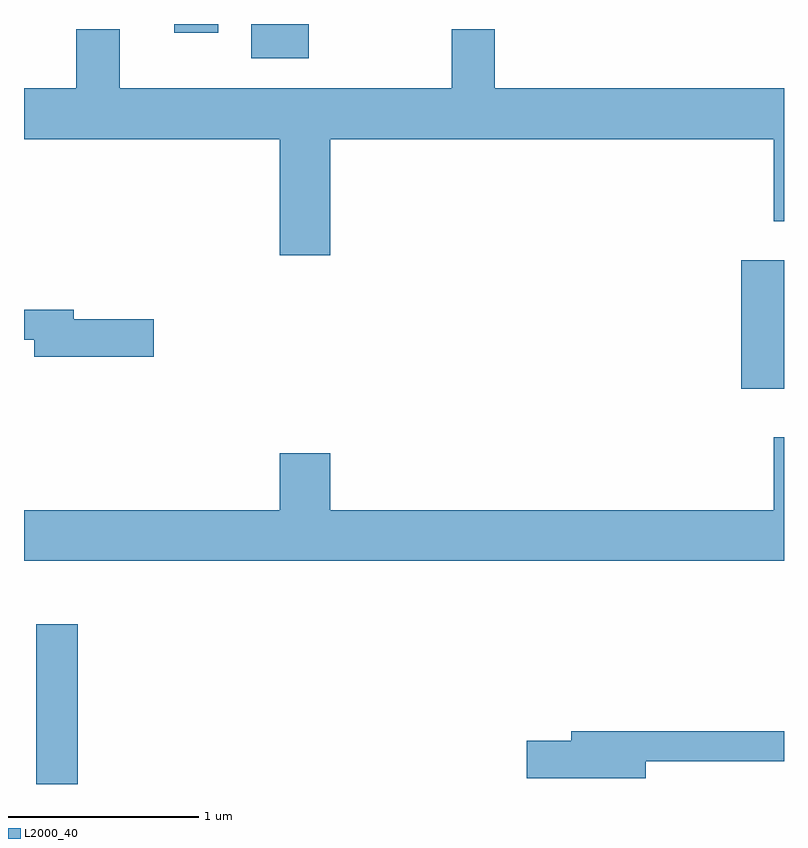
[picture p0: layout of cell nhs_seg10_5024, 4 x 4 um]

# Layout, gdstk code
import gdstk
lib = gdstk.Library(unit=1e-6, precision=1e-09)
def R(c, l, rs):  # rectangles x0, y0, x1, y1
    for r in rs: c.add(gdstk.rectangle(r[:2], r[2:], *l))
def P(c, l, *ps):  # polygons
    for p in ps: c.add(gdstk.Polygon(p, *l))
L2000_40 = (2000, 40)

nhs_seg10_5024 = lib.new_cell('nhs_seg10_5024')
R(nhs_seg10_5024, L2000_40, [(333.676,2110.522,333.894,2111.364), (337.386,2112.601,337.611,2113.279), (334.806,2114.341,335.109,2114.522), (334.401,2114.476,334.634,2114.522)])
P(nhs_seg10_5024, L2000_40, [(335.224,2113.916),(337.556,2113.916),(337.556,2113.483),(337.611,2113.483),(337.611,2114.184),(336.089,2114.184),(336.089,2114.494),(335.861,2114.494),(335.861,2114.184),(334.114,2114.184),(334.114,2114.494),(333.886,2114.494),(333.886,2114.184),(333.611,2114.184),(333.611,2113.916),(334.956,2113.916),(334.956,2113.306),(335.224,2113.306)],
  [(334.294,2112.969),(333.874,2112.969),(333.874,2113.019),(333.611,2113.019),(333.611,2112.861),(333.666,2112.861),(333.666,2112.771),(334.294,2112.771)],
  [(337.611,2112.348),(337.556,2112.348),(337.556,2111.964),(335.224,2111.964),(335.224,2112.264),(334.956,2112.264),(334.956,2111.964),(333.611,2111.964),(333.611,2111.696),(337.611,2111.696)],
  [(336.884,2110.641),(337.611,2110.641),(337.611,2110.799),(336.491,2110.799),(336.491,2110.749),(336.256,2110.749),(336.256,2110.551),(336.884,2110.551)])

lib.write_gds('nhs_seg10_5024.gds')
